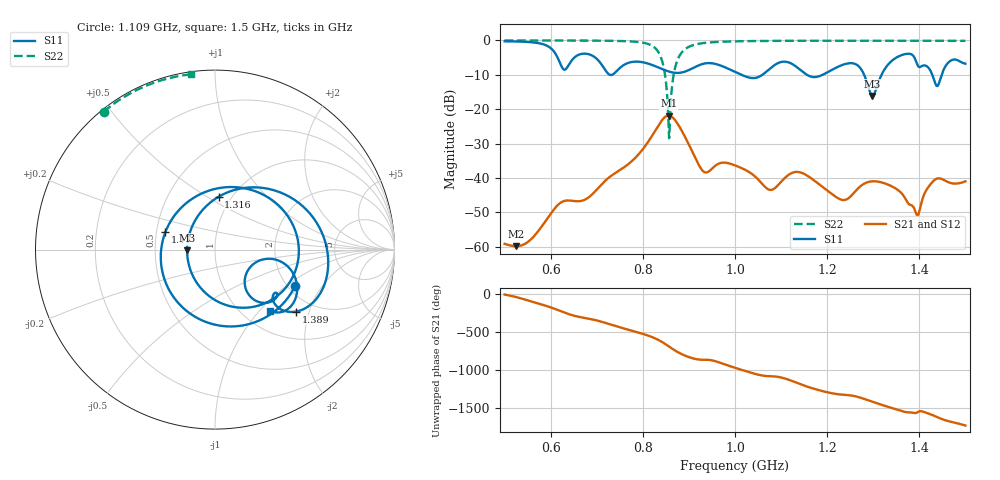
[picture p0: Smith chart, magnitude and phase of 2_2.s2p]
! TOUCHSTONE file generated by CST MICROWAVE STUDIO
! Date and time: Thu Feb 11 19:30:57 2021
! Project name: Scenario_1_Planar_Body_Tissue_Out_of_Line.cst
! Parameters = {L_HA=400; Ltissue=1000; MT=2.54; Rad_Dielectric=30; Rad_Lower=7.3; Rad_Upper=30; Wtissue=1000; a_HA=580; a_WG=246; b_HA=500; b_WG=121; c_HA=0; c_WG=187; d_feed=85; dx1=346; dy1=-328.7; h_feed=15; h_lower=18; h_upper=40; hfat=3; hgap=25; hmuscle=50; hskin=1.5}
! Header version: 2018
! Port assignment regex: !\s*Touchstone port\s*([0-9]+)\s*=\s*(CST MWS port|CST DS port)\s*([0-9]+|Zmin|Zmax)\s*\(\"(.*)\"\)(\s*mode\s*([0-9]+))?.*
! Touchstone port assignment:
! Touchstone port 1 = CST MWS port 1 ("")
! Touchstone port 2 = CST MWS port 2 ("")
# GHz S DB R 50
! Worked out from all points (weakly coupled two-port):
!   1003 points, 500 MHz to 1.5 GHz, reference 50 ohm
!   highest |S21| = -21.88 dB at 856 MHz (marker M1); lowest = -59.9 dB at 525 MHz (marker M2)
!   lowest |S11| = -16.2 dB at 1.298 GHz (marker M3), VSWR 1.37, Z = 36.6 - j0.222 ohm
!   |S11| at or under -10 dB: 1.014 GHz to 1.059 GHz (45.49 MHz wide, 4.39 % of centre); 1.156 GHz to 1.19 GHz (34.05 MHz wide, 2.9 % of centre); 1.28 GHz to 1.318 GHz (37.75 MHz wide, 2.91 % of centre) (the widest 3 of 5)
!   |S22| runs from -28.5 to 0.0 dB; largest |S21 - S12| = 3.3e-06
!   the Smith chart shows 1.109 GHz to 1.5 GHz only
!   S11 on the Smith chart (normalised r, x): 1.109 GHz: 2.19, -1.16; 1.17 GHz: 0.56, +0.12; 1.316 GHz: 0.87, +0.56; 1.389 GHz: 1.61, -1.65; 1.5 GHz: 1.32, -1.14
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0.5  -0.25 -121.7  -59.20 -10.4  -59.20 -10.4  -0.01 151.1
0.525  -0.30 -133.0  -59.88 -43.5  -59.88 -43.5  -0.01 149.5
0.667  -3.92 158.1  -46.68 50.4  -46.69 50.4  -0.04 138.4
0.718  -8.52 27.5  -40.87 -20.5  -40.87 -20.5  -0.09 132.6
0.743  -8.95 -98.7  -38.35 -67.4  -38.35 -67.4  -0.14 128.7
0.772  -6.39 175.6  -35.61 -117.0  -35.61 -117.0  -0.28 122.5
0.834  -7.88 37.6  -24.70 114.1  -24.70 114.1  -3.45 82.3
0.856  -9.03 -20.3  -21.88 31.3  -21.88 31.3  -25.30 -0.3
0.907  -8.16 -176.7  -32.29 -124.0  -32.29 -124.0  -1.47 163.9
0.939  -6.62 86.2  -38.40 -145.4  -38.40 -145.4  -0.66 151.6
1  -9.15 -66.1  -36.36 109.8  -36.36 109.8  -0.26 140.2
1.042  -10.95 -178.5  -39.42 32.9  -39.42 32.9  -0.18 135.2
1.074  -8.42 79.3  -43.44 -0.2  -43.44 -0.2  -0.14 132.1
1.109  -6.19 -24.3  -39.92 -31.8  -39.92 -31.8  -0.12 128.9
1.167  -10.60 168.8  -40.28 -157.1  -40.28 -157.1  -0.10 124.2
1.17  -10.66 160.2  -40.58 -162.6  -40.58 -162.6  -0.09 124.0
1.248  -6.63 3.0  -45.75 110.3  -45.75 110.3  -0.09 118.0
1.298  -16.17 -178.9  -41.00 25.8  -41.00 25.8  -0.08 114.2
1.316  -10.59 86.0  -41.25 -10.6  -41.25 -10.6  -0.08 112.9
1.334  -6.75 46.6  -42.07 -45.3  -42.07 -45.3  -0.09 111.5
1.389  -4.89 -37.3  -48.95 -123.0  -48.95 -123.0  -0.09 107.2
1.5  -6.77 -48.0  -41.01 74.3  -41.01 74.3  -0.13 97.9
